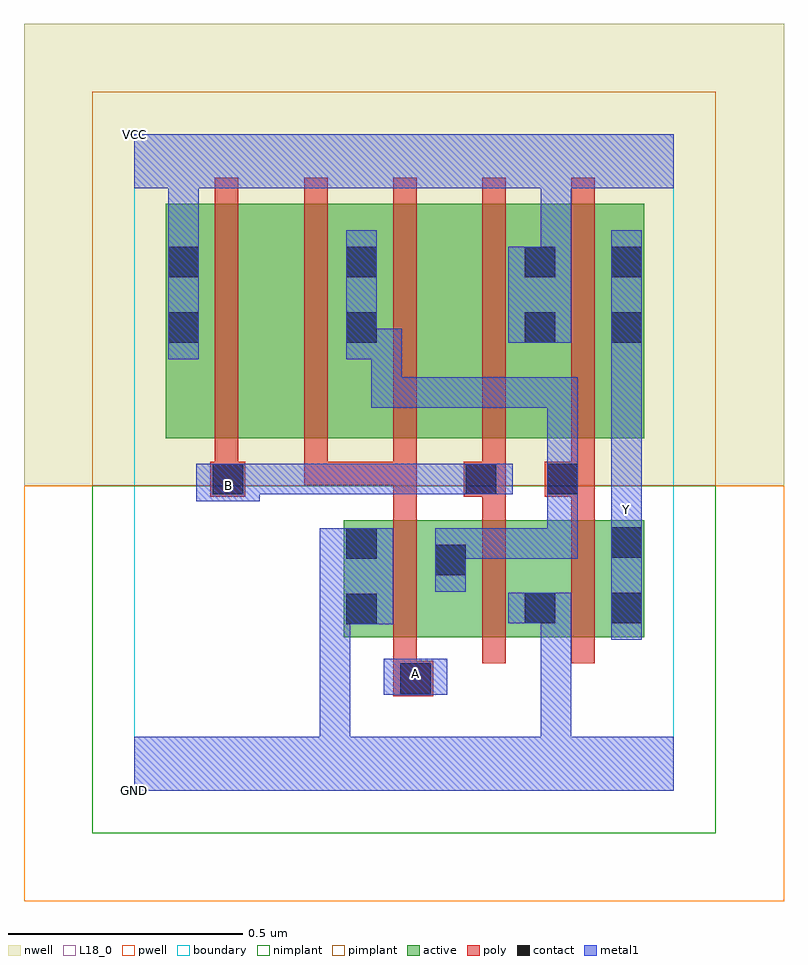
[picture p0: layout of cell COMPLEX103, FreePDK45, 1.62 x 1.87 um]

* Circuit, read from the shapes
.subckt COMPLEX103 A B GND VCC Y
M1 n1 A GND VSUBS nfet w=0.25u l=0.05u
M2 GND B n1 VSUBS nfet w=0.25u l=0.05u
M3 Y n1 GND VSUBS nfet w=0.25u l=0.05u
M4 n2 B VCC n3 pfet w=0.5u l=0.05u
M5 n1 A n2 n3 pfet w=0.5u l=0.05u
M6 n4 A n1 n3 pfet w=0.5u l=0.05u
M7 VCC B n4 n3 pfet w=0.5u l=0.05u
M8 Y n1 VCC n3 pfet w=0.5u l=0.05u
.ends

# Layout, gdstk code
import gdstk
lib = gdstk.Library(unit=1e-6, precision=1e-09)
def R(c, l, rs):  # rectangles x0, y0, x1, y1
    for r in rs: c.add(gdstk.rectangle(r[:2], r[2:], *l))
def A(c, l, x, y, w, h, nx, ny, dx, dy):  # array of equal rectangles
    R(c, l, [(x+i*dx, y+j*dy, x+i*dx+w, y+j*dy+h) for i in range(nx) for j in range(ny)])
active = (1, 0)
pwell = (2, 0)
nwell = (3, 0)
nimplant = (4, 0)
pimplant = (5, 0)
poly = (9, 0)
contact = (10, 0)
metal1 = (11, 0)
L18_0 = (18, 0)
boundary = (235, 0)

complex103 = lib.new_cell('COMPLEX103')
R(complex103, active, [(0.447,0.327,0.712,0.577), (0.447,0.327,0.522,0.577), (0.637,0.327,0.902,0.577), (0.827,0.327,1.087,0.577), (0.637,0.345,0.712,0.53), (0.827,0.345,0.902,0.497), (1.012,0.345,1.087,0.577), (0.067,0.752,0.292,1.252), (0.067,0.752,0.142,1.205), (0.292,0.752,0.522,1.252), (0.447,0.752,0.672,1.252), (0.672,0.752,0.902,1.252), (0.827,0.752,1.087,1.252), (1.012,0.752,1.087,1.2), (0.447,0.807,0.522,1.2), (0.827,0.807,0.902,1.205)])
R(complex103, pwell, [(-0.235,-0.235,1.385,0.65)])
R(complex103, nwell, [(-0.235,0.65,1.385,1.635)])
R(complex103, nimplant, [(-0.09,-0.09,1.24,0.65)])
R(complex103, pimplant, [(-0.09,0.65,1.24,1.49)])
A(complex103, poly, 0.552, 0.272, 0.05, 0.36, 3, 1, 0.19, 0)
A(complex103, poly, 0.172, 0.652, 0.05, 0.095, 5, 1, 0.19, 0)
A(complex103, poly, 0.172, 0.697, 0.05, 0.61, 5, 1, 0.19, 0)
R(complex103, poly, [(0.552,0.202,0.637,0.277), (0.552,0.227,0.602,0.322), (0.552,0.582,0.602,0.702), (0.742,0.582,0.792,0.677), (0.932,0.582,0.982,0.677), (0.162,0.627,0.237,0.702), (0.702,0.627,0.792,0.702), (0.875,0.627,0.982,0.702), (0.362,0.652,0.412,0.702), (0.362,0.652,0.602,0.702), (0.552,0.652,0.602,0.702), (0.552,0.652,0.602,0.702), (0.552,0.652,0.602,0.702)])
A(complex103, contact, 0.072, 0.955, 0.065, 0.065, 3, 2, 0.38, 0.14)
R(complex103, contact, [(0.567,0.207,0.632,0.272), (0.452,0.355,0.517,0.42), (0.832,0.357,0.897,0.422), (1.017,0.357,1.082,0.422), (0.642,0.46,0.707,0.525), (0.452,0.495,0.517,0.56), (1.017,0.497,1.082,0.562), (0.167,0.632,0.232,0.697), (0.707,0.632,0.772,0.697), (0.88,0.632,0.945,0.697), (1.017,0.955,1.082,1.02), (1.017,1.095,1.082,1.16)])
R(complex103, metal1, [(0,0,1.15,0.115), (0.395,0.05,0.46,0.115), (0.395,0.05,0.46,0.115), (0.395,0.05,0.46,0.115), (0.395,0.05,0.46,0.115), (0.395,0.05,0.46,0.115), (0.395,0.05,0.46,0.115), (0.395,0.05,0.46,0.42), (0.867,0.05,0.932,0.115), (0.867,0.05,0.932,0.115), (0.867,0.05,0.932,0.115), (0.867,0.05,0.932,0.115), (0.867,0.05,0.932,0.115), (0.867,0.05,0.932,0.115), (0.867,0.05,0.932,0.422), (0.532,0.205,0.667,0.282), (1.017,0.322,1.082,0.597), (0.395,0.355,0.552,0.56), (0.797,0.357,0.932,0.422), (0.642,0.425,0.707,0.56), (0.642,0.495,0.707,0.56), (0.642,0.495,0.707,0.56), (0.642,0.495,0.945,0.56), (0.88,0.495,0.945,0.56), (0.88,0.495,0.945,0.732), (1.017,0.532,1.082,0.597), (1.017,0.532,1.082,0.667), (0.88,0.597,0.945,0.732), (1.017,0.602,1.082,0.985), (0.132,0.617,0.267,0.697), (0.202,0.632,0.267,0.697), (0.202,0.632,0.267,0.697), (0.202,0.632,0.405,0.697), (0.34,0.632,0.405,0.697), (0.34,0.632,0.542,0.697), (0.477,0.632,0.542,0.697), (0.477,0.632,0.542,0.697), (0.477,0.632,0.542,0.697), (0.477,0.632,0.68,0.697), (0.615,0.632,0.68,0.697), (0.615,0.632,0.737,0.697), (0.672,0.632,0.807,0.697), (0.88,0.667,0.945,0.732), (0.88,0.667,0.945,0.732), (0.88,0.667,0.945,0.882), (0.505,0.817,0.707,0.882), (0.505,0.817,0.57,0.985), (0.642,0.817,0.707,0.882), (0.642,0.817,0.707,0.882), (0.642,0.817,0.707,0.882), (0.642,0.817,0.945,0.882), (0.88,0.817,0.945,0.882), (0.072,0.92,0.137,1.195), (0.452,0.92,0.517,1.195), (0.452,0.92,0.57,0.985), (1.017,0.92,1.082,1.195), (0.797,0.955,0.932,1.16), (0.867,1.095,0.932,1.16), (0.867,1.095,0.932,1.16), (0.867,1.095,0.932,1.35), (0.072,1.13,0.137,1.195), (0.072,1.13,0.137,1.195), (0.072,1.13,0.137,1.35), (0,1.285,1.15,1.4)])
R(complex103, L18_0, [(0,0,1.15,0.115), (0.395,0.05,0.46,0.115), (0.395,0.05,0.46,0.115), (0.395,0.05,0.46,0.115), (0.395,0.05,0.46,0.115), (0.395,0.05,0.46,0.115), (0.395,0.05,0.46,0.115), (0.395,0.05,0.46,0.42), (0.867,0.05,0.932,0.115), (0.867,0.05,0.932,0.115), (0.867,0.05,0.932,0.115), (0.867,0.05,0.932,0.115), (0.867,0.05,0.932,0.115), (0.867,0.05,0.932,0.115), (0.867,0.05,0.932,0.422), (0.532,0.205,0.667,0.282), (0.567,0.217,0.632,0.282), (1.017,0.322,1.082,0.597), (0.395,0.355,0.552,0.56), (0.797,0.357,0.932,0.422), (1.017,0.532,1.082,0.597), (1.017,0.532,1.082,0.667), (1.017,0.567,1.082,0.632), (1.017,0.602,1.082,0.985), (0.132,0.617,0.267,0.697), (0.167,0.617,0.232,0.682), (0.202,0.632,0.267,0.697), (0.202,0.632,0.267,0.697), (0.202,0.632,0.405,0.697), (0.34,0.632,0.405,0.697), (0.34,0.632,0.542,0.697), (0.477,0.632,0.542,0.697), (0.477,0.632,0.542,0.697), (0.477,0.632,0.542,0.697), (0.477,0.632,0.68,0.697), (0.615,0.632,0.68,0.697), (0.615,0.632,0.737,0.697), (0.672,0.632,0.807,0.697), (0.072,0.92,0.137,1.195), (1.017,0.92,1.082,1.195), (0.797,0.955,0.932,1.16), (0.867,1.095,0.932,1.16), (0.867,1.095,0.932,1.16), (0.867,1.095,0.932,1.35), (0.072,1.13,0.137,1.195), (0.072,1.13,0.137,1.195), (0.072,1.13,0.137,1.35), (0,1.285,1.15,1.4)])
R(complex103, boundary, [(0,0,1.15,1.4)])
complex103.add(gdstk.Label('A', (0.6,0.25), layer=11, texttype=0))
complex103.add(gdstk.Label('B', (0.2,0.65), layer=11, texttype=0))
complex103.add(gdstk.Label('Y', (1.05,0.6), layer=11, texttype=0))
complex103.add(gdstk.Label('VCC', (0,1.4), layer=11, texttype=0))
complex103.add(gdstk.Label('GND', (0,0), layer=11, texttype=0))

lib.write_gds('COMPLEX103.gds')
